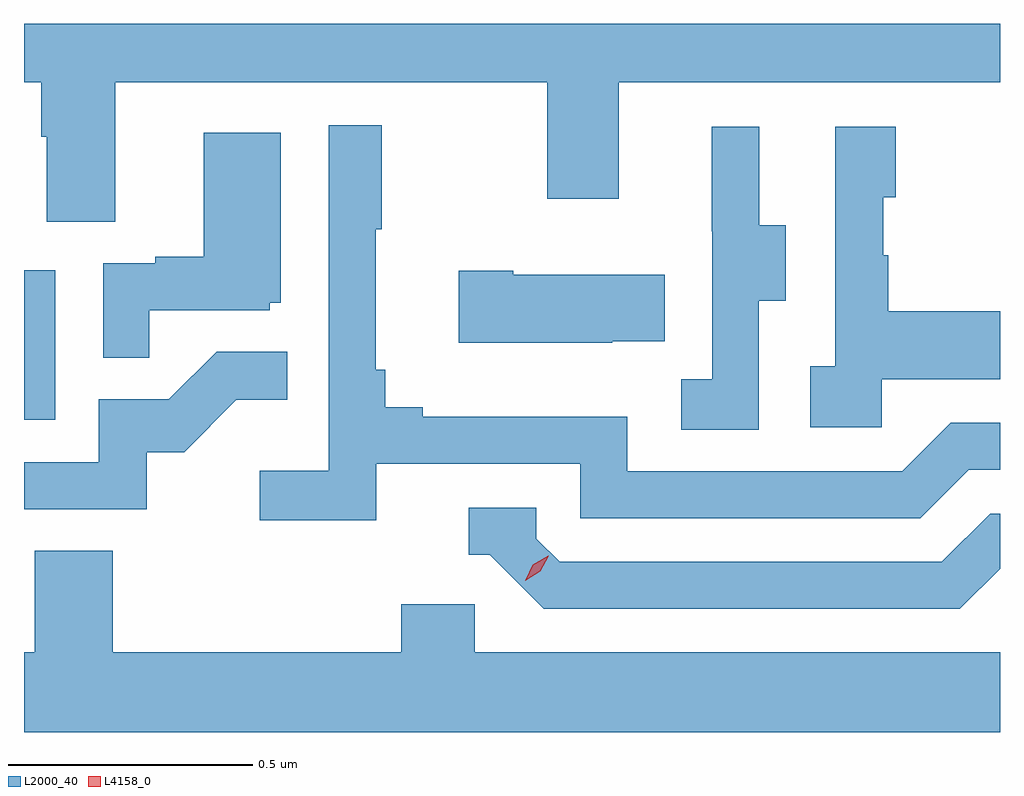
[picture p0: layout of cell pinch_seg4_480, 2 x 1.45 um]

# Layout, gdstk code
import gdstk
lib = gdstk.Library(unit=1e-6, precision=1e-09)
def R(c, l, rs):  # rectangles x0, y0, x1, y1
    for r in rs: c.add(gdstk.rectangle(r[:2], r[2:], *l))
def P(c, l, *ps):  # polygons
    for p in ps: c.add(gdstk.Polygon(p, *l))
L2000_40 = (2000, 40)
L4158_0 = (4158, 0)

pinch_seg4_480 = lib.new_cell('pinch_seg4_480')
R(pinch_seg4_480, L2000_40, [(908.898,754.836,908.962,755.143)])
P(pinch_seg4_480, L2000_40, [(909.085,755.528),(909.97,755.528),(909.97,755.289),(910.117,755.289),(910.117,755.528),(910.898,755.528),(910.898,755.648),(908.898,755.648),(908.898,755.528),(908.933,755.528),(908.933,755.416),(908.945,755.416),(908.945,755.242),(909.085,755.242)],
  [(909.62,754.746),(910.038,754.746),(910.038,754.635),(910.735,754.635),(910.834,754.734),(910.898,754.734),(910.898,754.83),(910.797,754.83),(910.698,754.731),(910.134,754.731),(910.134,754.843),(909.715,754.843),(909.715,754.862),(909.638,754.862),(909.638,754.939),(909.619,754.939),(909.619,755.227),(909.631,755.227),(909.631,755.44),(909.522,755.44),(909.522,754.732),(909.381,754.732),(909.381,754.63),(909.62,754.63)],
  [(910.656,754.919),(910.898,754.919),(910.898,755.059),(910.669,755.059),(910.669,755.174),(910.659,755.174),(910.659,755.292),(910.684,755.292),(910.684,755.437),(910.56,755.437),(910.56,754.946),(910.509,754.946),(910.509,754.821),(910.656,754.821)],
  [(910.404,755.08),(910.459,755.08),(910.459,755.235),(910.405,755.235),(910.405,755.437),(910.307,755.437),(910.307,755.223),(910.308,755.223),(910.308,754.919),(910.245,754.919),(910.245,754.816),(910.404,754.816)],
  [(909.155,755.061),(909.402,755.061),(909.402,755.076),(909.424,755.076),(909.424,755.425),(909.266,755.425),(909.266,755.17),(909.167,755.17),(909.167,755.157),(909.06,755.157),(909.06,754.963),(909.155,754.963)],
  [(910.103,754.997),(910.211,754.997),(910.211,755.134),(909.901,755.134),(909.901,755.142),(909.789,755.142),(909.789,754.994),(910.103,754.994)],
  [(909.15,754.77),(909.226,754.77),(909.333,754.877),(909.437,754.877),(909.437,754.976),(909.293,754.976),(909.195,754.878),(909.051,754.878),(909.051,754.749),(908.898,754.749),(908.898,754.653),(909.15,754.653)],
  [(910.898,754.531),(910.898,754.644),(910.878,754.644),(910.779,754.545),(909.996,754.545),(909.948,754.593),(909.948,754.656),(909.809,754.656),(909.809,754.56),(909.852,754.56),(909.963,754.449),(910.816,754.449)],
  [(910.898,754.36),(909.822,754.36),(909.822,754.458),(909.671,754.458),(909.671,754.36),(909.08,754.36),(909.08,754.568),(908.92,754.568),(908.92,754.36),(908.898,754.36),(908.898,754.196),(910.898,754.196)])
P(pinch_seg4_480, L4158_0, [(909.925,754.507),(909.925,754.507),(909.941,754.539),(909.972,754.558),(909.973,754.558),(909.973,754.558),(909.956,754.526),(909.925,754.507)])

lib.write_gds('pinch_seg4_480.gds')
